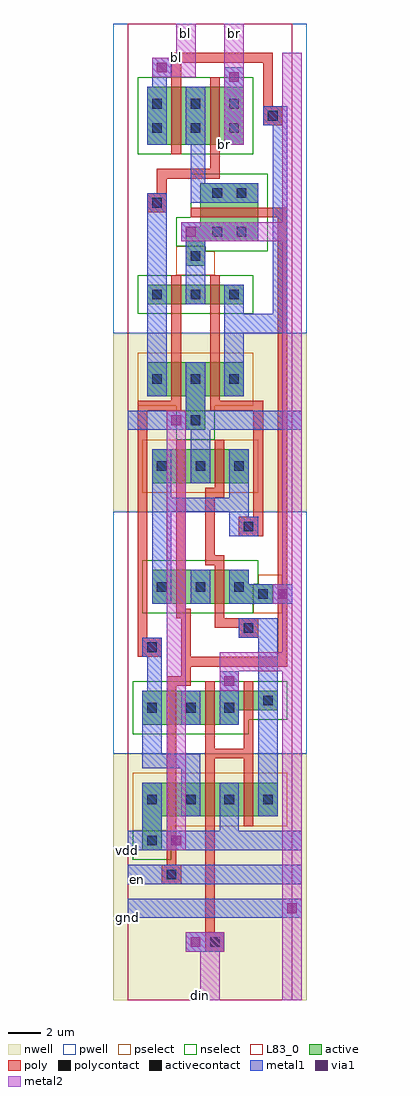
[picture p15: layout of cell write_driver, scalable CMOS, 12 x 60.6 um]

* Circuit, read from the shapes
.subckt write_driver bl br din en gnd vdd
M1 n1 en n2 gnd nfet w=2.1u l=0.6u
M2 gnd n2 n3 gnd nfet w=1.2u l=0.6u
M3 n4 n5 bl gnd nfet w=3.6u l=0.6u
M4 n6 en n7 gnd nfet w=2.1u l=0.6u
M5 n4 en gnd gnd nfet w=3.6u l=0.6u
M6 gnd din n1 gnd nfet w=2.1u l=0.6u
M7 n5 n7 gnd gnd nfet w=1.2u l=0.6u
M8 br n3 n4 gnd nfet w=3.6u l=0.6u
M9 gnd n8 n6 gnd nfet w=2.1u l=0.6u
M10 n8 din gnd gnd nfet w=1.2u l=0.6u
M11 n2 en vdd vdd pfet w=2.1u l=0.6u
M12 vdd n2 n3 vdd pfet w=2.1u l=0.6u
M13 vdd en n7 vdd pfet w=2.1u l=0.6u
M14 vdd din n2 vdd pfet w=2.1u l=0.6u
M15 n5 n7 vdd vdd pfet w=2.1u l=0.6u
M16 n7 n8 vdd vdd pfet w=2.1u l=0.6u
M17 n8 din vdd vdd pfet w=2.1u l=0.6u
.ends

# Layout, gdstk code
import gdstk
lib = gdstk.Library(unit=1e-6, precision=1e-09)
def R(c, l, rs):  # rectangles x0, y0, x1, y1
    for r in rs: c.add(gdstk.rectangle(r[:2], r[2:], *l))
def A(c, l, x, y, w, h, nx, ny, dx, dy):  # array of equal rectangles
    R(c, l, [(x+i*dx, y+j*dy, x+i*dx+w, y+j*dy+h) for i in range(nx) for j in range(ny)])
pwell = (41, 0)
nwell = (42, 0)
active = (43, 0)
pselect = (44, 0)
nselect = (45, 0)
poly = (46, 0)
polycontact = (47, 0)
activecontact = (48, 0)
metal1 = (49, 0)
via1 = (50, 0)
metal2 = (51, 0)
L83_0 = (83, 0)

write_driver = lib.new_cell('write_driver')
R(write_driver, pwell, [(-0.9,15.3,11.1,30.3), (-0.9,41.4,11.1,60.6)])
R(write_driver, nwell, [(-0.9,0,11.1,15.3), (-0.9,30.3,11.1,41.4)])
R(write_driver, active, [(0.9,9.3,2.1,11.4), (0.9,11.4,9.3,13.5), (0.9,17.1,6.9,18), (0.9,18,9.3,19.2), (1.5,24.6,9,25.8), (1.5,25.8,7.5,26.7), (1.5,32.1,7.5,34.2), (3.6,35.4,4.8,37.5), (1.2,37.5,7.2,39.6), (1.2,43.2,7.2,44.4), (3.6,45.6,4.8,47.1), (3.6,47.1,8.1,48), (4.5,48,8.1,50.7), (1.2,53.1,7.2,56.7)])
R(write_driver, pselect, [(0.3,10.5,2.7,10.8), (0.3,10.8,9.9,14.1), (7.8,24,9.6,25.8), (8.1,25.8,9.6,26.4), (0.9,31.5,8.1,34.8), (3,36.6,5.4,36.9), (0.6,36.9,7.8,40.2), (3,45,5.4,46.5), (3,46.5,4.8,46.8)])
R(write_driver, nselect, [(0.3,8.7,2.7,10.5), (0.3,16.5,7.5,17.4), (0.3,17.4,9.9,19.8), (0.9,24,7.8,25.8), (0.9,25.8,8.1,27.3), (3,34.8,5.4,36.6), (0.6,42.6,7.8,45), (4.8,46.5,8.7,46.8), (3,46.8,8.7,48.6), (3.9,48.6,8.7,51.3), (0.6,52.5,7.8,57.3)])
R(write_driver, poly, [(4.8,3,6,4.2), (4.8,4.2,5.4,15), (2.1,7.2,3.3,8.4), (2.4,8.4,3,19.5), (7.2,10.8,7.8,15), (4.8,15,7.8,15.6), (4.8,15.6,5.4,19.8), (7.2,15.6,7.8,19.8), (2.4,19.5,3.9,20.1), (3.3,20.1,3.9,20.7), (3.3,20.7,9.9,21.3), (0.6,21.3,2.1,22.5), (3.3,21.3,3.9,23.7), (9.3,21.3,9.9,48.6), (0.6,22.5,1.2,36.6), (6.9,22.5,8.1,23.1), (5.4,23.1,8.1,23.7), (3,23.7,3.9,24.3), (5.4,23.7,6,27), (3,24.3,3.6,34.8), (4.8,27,6,27.6), (4.8,27.6,5.4,31.2), (6.9,28.8,8.4,30), (7.8,30,8.4,36.6), (4.8,31.2,6,31.8), (5.4,31.8,6,34.8), (0.6,36.6,3.3,37.2), (5.1,36.6,8.4,37.2), (2.7,37.2,3.3,45), (5.1,37.2,5.7,45), (3.9,48.6,9.9,49.2), (1.2,48.9,2.4,50.1), (1.8,50.1,2.4,51), (1.8,51,5.7,51.6), (5.1,51.6,5.7,57.3), (2.7,52.5,3.3,58.2), (8.4,54.3,9.6,55.5), (8.4,55.5,9,58.2), (2.7,58.2,9,58.8)])
R(write_driver, polycontact, [(5.1,3.3,5.7,3.9), (2.4,7.5,3,8.1), (1.2,21.6,1.8,22.2), (7.2,22.8,7.8,23.4), (7.2,29.1,7.8,29.7), (1.5,49.2,2.1,49.8), (8.7,54.6,9.3,55.2)])
A(write_driver, activecontact, 1.2, 12.15, 0.6, 0.6, 4, 1, 2.4, 0)
A(write_driver, activecontact, 1.2, 17.85, 0.6, 0.6, 3, 1, 2.4, 0)
A(write_driver, activecontact, 1.8, 25.35, 0.6, 0.6, 3, 2, 2.4, 7.5)
A(write_driver, activecontact, 1.5, 38.25, 0.6, 0.6, 3, 2, 2.4, 5.25)
A(write_driver, activecontact, 1.5, 53.85, 0.6, 0.6, 3, 2, 2.4, 1.5)
R(write_driver, activecontact, [(1.2,9.6,1.8,10.2), (8.4,18.3,9,18.9), (8.1,24.9,8.7,25.5), (3.9,35.7,4.5,36.3), (3.9,45.9,4.5,46.5), (5.25,47.4,5.85,48), (6.75,47.4,7.35,48), (5.25,49.8,5.85,50.4), (6.75,49.8,7.35,50.4)])
R(write_driver, metal1, [(3.6,3,6,4.2), (0,5.1,10.8,6.3), (0,5.1,10.8,6.3), (0,7.2,10.8,8.4), (0,7.2,10.8,8.4), (0,9.3,10.8,10.5), (0,9.3,10.8,10.5), (0.9,10.5,2.1,13.5), (5.7,10.5,6.9,13.5), (3.3,11.4,4.5,14.4), (8.1,11.4,9.3,22.5), (0.9,14.4,4.5,15.3), (0.9,15.3,2.1,19.2), (3.3,17.1,4.5,19.2), (5.7,17.1,6.9,20.4), (1.2,19.2,2.1,21.3), (0.9,21.3,2.1,22.5), (6.9,22.5,9.3,23.7), (1.5,24.6,2.7,30.3), (3.9,24.6,5.1,26.7), (6.3,24.6,10.2,25.8), (6.3,25.8,7.5,26.7), (6.3,28.8,8.1,30), (6.3,30,7.5,30.3), (1.5,30.3,7.5,31.2), (1.5,31.2,2.7,34.2), (6.3,31.2,7.5,34.2), (3.9,32.1,5.1,35.4), (0,35.4,10.8,36.6), (3.6,36.6,4.8,39.6), (1.2,37.5,2.4,50.1), (6,37.5,7.2,41.4), (6,41.4,9.9,42.6), (6,42.6,7.2,44.4), (9,42.6,9.9,54.3), (3.6,43.2,4.8,47.1), (3.3,47.1,8.1,48.3), (3.9,49.5,8.1,50.7), (3.9,50.7,4.8,53.1), (1.2,53.1,2.4,56.7), (3.6,53.1,4.8,56.7), (6,53.1,7.2,57.9), (8.4,54.3,9.9,55.5), (1.5,56.7,2.4,57.3), (1.5,57.3,2.7,58.5)])
R(write_driver, via1, [(3.9,3.3,4.5,3.9), (9.9,5.4,10.5,6), (2.7,9.6,3.3,10.2), (6,19.5,6.6,20.1), (9.3,24.9,9.9,25.5), (2.7,35.7,3.3,36.3), (3.6,47.4,4.2,48), (6.3,57,6.9,57.6), (1.8,57.6,2.4,58.2)])
R(write_driver, metal2, [(4.5,0,5.7,3), (4.5,0,5.7,3), (9.6,0,10.8,20.4), (3.6,3,6,4.2), (2.4,9.3,3.6,36.6), (5.7,19.2,6.9,20.4), (5.7,20.4,10.8,21.6), (9.6,21.6,10.8,24.6), (9,24.6,10.8,25.8), (9.6,25.8,10.8,47.1), (3.3,47.1,10.8,48.3), (9.6,48.3,10.8,58.8), (6,53.1,7.2,60.6), (6,53.1,7.2,60.6), (1.5,57.3,4.2,58.5), (3,58.5,4.2,60.6), (3,58.5,4.2,60.6)])
R(write_driver, L83_0, [(0,0,10.2,60.6)])
write_driver.add(gdstk.Label('vdd', (0,9.3), layer=49, texttype=0))
write_driver.add(gdstk.Label('gnd', (0,5.1), layer=49, texttype=0))
write_driver.add(gdstk.Label('din', (4.5,0.3), layer=51, texttype=0))
write_driver.add(gdstk.Label('en', (0.6,7.5), layer=49, texttype=0))
write_driver.add(gdstk.Label('bl', (3.6,60), layer=51, texttype=0))
write_driver.add(gdstk.Label('br', (6.6,60), layer=51, texttype=0))
write_driver.add(gdstk.Label('din', (4.5,0), layer=51, texttype=0))
write_driver.add(gdstk.Label('en', (0,7.2), layer=49, texttype=0))
write_driver.add(gdstk.Label('br', (6,53.1), layer=51, texttype=0))
write_driver.add(gdstk.Label('bl', (3,58.5), layer=51, texttype=0))
write_driver.add(gdstk.Label('vdd', (0,9.3), layer=49, texttype=0))
write_driver.add(gdstk.Label('gnd', (0,5.1), layer=49, texttype=0))

lib.write_gds('write_driver.gds')
